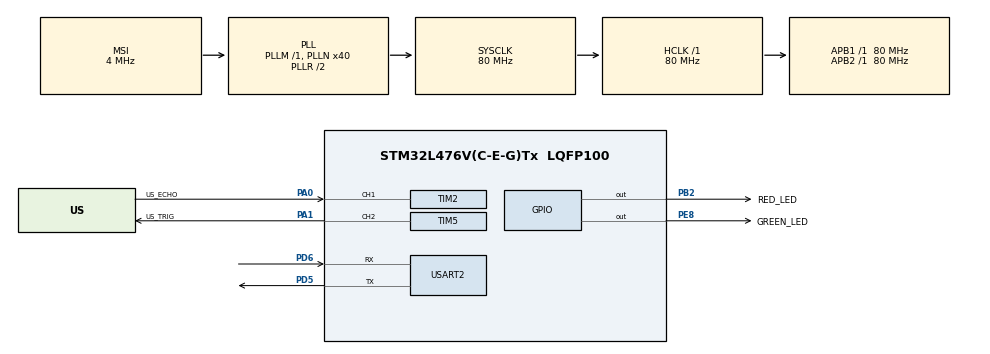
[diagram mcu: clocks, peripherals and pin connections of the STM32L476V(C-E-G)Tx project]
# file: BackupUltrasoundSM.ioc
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Dma.Request0=TIM2_CH1
Dma.Request1=USART2_TX
Dma.TIM2_CH1.0.Direction=DMA_PERIPH_TO_MEMORY
Dma.TIM2_CH1.0.Instance=DMA1_Channel5
Dma.TIM2_CH1.0.MemDataAlignment=DMA_MDATAALIGN_WORD
Dma.TIM2_CH1.0.MemInc=DMA_MINC_ENABLE
Dma.TIM2_CH1.0.Mode=DMA_CIRCULAR
Dma.TIM2_CH1.0.PeriphDataAlignment=DMA_PDATAALIGN_WORD
Dma.TIM2_CH1.0.PeriphInc=DMA_PINC_DISABLE
Dma.TIM2_CH1.0.Priority=DMA_PRIORITY_LOW
Dma.USART2_TX.1.Direction=DMA_MEMORY_TO_PERIPH
Dma.USART2_TX.1.Instance=DMA1_Channel7
Dma.USART2_TX.1.MemDataAlignment=DMA_MDATAALIGN_BYTE
Dma.USART2_TX.1.MemInc=DMA_MINC_ENABLE
Dma.USART2_TX.1.Mode=DMA_NORMAL
Dma.USART2_TX.1.PeriphDataAlignment=DMA_PDATAALIGN_BYTE
Dma.USART2_TX.1.PeriphInc=DMA_PINC_DISABLE
Dma.USART2_TX.1.Priority=DMA_PRIORITY_LOW
Mcu.Family=STM32L4
Mcu.Name=STM32L476V(C-E-G)Tx
Mcu.Package=LQFP100
NVIC.DMA1_Channel5_IRQn=true\:0\:0\:false\:false\:true\:false\:true
NVIC.DMA1_Channel7_IRQn=true\:0\:0\:false\:false\:true\:false\:true
NVIC.PriorityGroup=NVIC_PRIORITYGROUP_4
NVIC.TIM2_IRQn=true\:0\:0\:false\:false\:true\:true\:true
PA0.GPIO_Label=US_ECHO
PA0.Signal=S_TIM2_CH1
PA1.GPIO_Label=US_TRIG
PA1.Signal=S_TIM5_CH2
PB2.GPIO_Label=RED_LED
PB2.Signal=GPIO_Output
PD5.Mode=Asynchronous
PD5.Signal=USART2_TX
PD6.Mode=Asynchronous
PD6.Signal=USART2_RX
PE8.GPIO_Label=GREEN_LED
PE8.Signal=GPIO_Output
ProjectManager.HeapSize=0x200
ProjectManager.StackSize=0x400
ProjectManager.TargetToolchain=STM32CubeIDE
RCC.AHBFreq_Value=80000000
RCC.APB1Freq_Value=80000000
RCC.APB1TimFreq_Value=80000000
RCC.APB2Freq_Value=80000000
RCC.APB2TimFreq_Value=80000000
RCC.CortexFreq_Value=80000000
RCC.HCLKFreq_Value=80000000
RCC.HSE_VALUE=8000000
RCC.HSI_VALUE=16000000
RCC.LSE_VALUE=32768
RCC.MSI_VALUE=4000000
RCC.PLLN=40
RCC.PREFETCH_ENABLE=1
RCC.SYSCLKFreq_VALUE=80000000
RCC.SYSCLKSource=RCC_SYSCLKSOURCE_PLLCLK
RCC.VCOOutputFreq_Value=160000000
SH.S_TIM2_CH1.0=TIM2_CH1,Input_Capture1_from_TI1
SH.S_TIM5_CH2.0=TIM5_CH2,PWM Generation2 CH2
TIM2.Channel-Input_Capture1_from_TI1=TIM_CHANNEL_1
TIM2.Channel-Output\ Compare2\ No\ Output=TIM_CHANNEL_2
TIM2.ICPolarity_CH1=TIM_INPUTCHANNELPOLARITY_BOTHEDGE
TIM2.Period=125000
TIM2.Prescaler=79
TIM5.Channel-PWM\ Generation2\ CH2=TIM_CHANNEL_2
TIM5.Period=100000
TIM5.Prescaler=79
TIM5.Pulse-PWM\ Generation2\ CH2=20
USART2.VirtualMode-Asynchronous=VM_ASYNC
VP_TIM2_VS_ClockSourceINT.Mode=Internal
VP_TIM2_VS_no_output2.Mode=Output Compare2 No Output
VP_TIM5_VS_ClockSourceINT.Mode=Internal
board=STM32L476G-DISCO

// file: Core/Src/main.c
/* USER CODE BEGIN Header */
/**
  ******************************************************************************
  * @file           : main.c
  * @brief          : Main program body
  ******************************************************************************
  * @attention
  *
  * <h2><center>&copy; Copyright (c) 2020 STMicroelectronics.
  * All rights reserved.</center></h2>
  *
  * This software component is licensed by ST under BSD 3-Clause license,
  * the "License"; You may not use this file except in compliance with the
  * License. You may obtain a copy of the License at:
  *                        opensource.org/licenses/BSD-3-Clause
  *
  ******************************************************************************
  */
/* USER CODE END Header */
#include "main.h"
#include "dma.h"
#include "tim.h"
#include "usart.h"
#include "gpio.h"

/* USER CODE BEGIN Includes */
#include <stdio.h>
#include <ultrasound_backup_state_machine.h>
#include "ultrasound.h"
#include "state_machine.h"
/* USER CODE END Includes */

void SystemClock_Config(void);

int main(void)
{

  /* MCU Configuration--------------------------------------------------------*/

  /* Reset of all peripherals, Initializes the Flash interface and the Systick. */
  HAL_Init();

  /* Configure the system clock */
  SystemClock_Config();

  /* Initialize all configured peripherals */
  MX_GPIO_Init();
  MX_DMA_Init();
  MX_TIM2_Init();
  MX_TIM5_Init();
  MX_USART2_UART_Init();
  /* USER CODE BEGIN 2 */
   enable_ultrasound();
  state_t current_state = initialize_state_machine(my_state_machine_config);
  /* USER CODE END 2 */

  /* Infinite loop */
  /* USER CODE BEGIN WHILE */
  uint32_t size = 0;
  char dist_str[] = "Distance: %d\n\r";
  char state_str[] = "State: %d\n\r";
  char buffer[32] = { 0 };
  state_machine_params_t params =
  {
	.distance = 400
  };
  while (1)
  {
	  params.distance = get_read_cm();
	  current_state = update_state_machine(params);
	  size = snprintf(buffer, 32, dist_str, params.distance);
	  HAL_UART_Transmit(&huart2, (uint8_t *)buffer, size, 0xFFFF);
	  size = snprintf(buffer, 32, state_str, current_state);
	  HAL_UART_Transmit(&huart2, (uint8_t *)buffer, size, 0xFFFF);
    /* USER CODE END WHILE */

    /* USER CODE BEGIN 3 */
	  HAL_Delay(100);
  }
  /* USER CODE END 3 */
}

void SystemClock_Config(void)
{
  RCC_OscInitTypeDef RCC_OscInitStruct = {0};
  RCC_ClkInitTypeDef RCC_ClkInitStruct = {0};
  RCC_PeriphCLKInitTypeDef PeriphClkInit = {0};

  /** Initializes the RCC Oscillators according to the specified parameters
  * in the RCC_OscInitTypeDef structure.
  */
  RCC_OscInitStruct.OscillatorType = RCC_OSCILLATORTYPE_MSI;
  RCC_OscInitStruct.MSIState = RCC_MSI_ON;
  RCC_OscInitStruct.MSICalibrationValue = 0;
  RCC_OscInitStruct.MSIClockRange = RCC_MSIRANGE_6;
  RCC_OscInitStruct.PLL.PLLState = RCC_PLL_ON;
  RCC_OscInitStruct.PLL.PLLSource = RCC_PLLSOURCE_MSI;
  RCC_OscInitStruct.PLL.PLLM = 1;
  RCC_OscInitStruct.PLL.PLLN = 40;
  RCC_OscInitStruct.PLL.PLLP = RCC_PLLP_DIV7;
  RCC_OscInitStruct.PLL.PLLQ = RCC_PLLQ_DIV2;
  RCC_OscInitStruct.PLL.PLLR = RCC_PLLR_DIV2;
  if (HAL_RCC_OscConfig(&RCC_OscInitStruct) != HAL_OK)
  {
    Error_Handler();
  }
  /** Initializes the CPU, AHB and APB buses clocks
  */
  RCC_ClkInitStruct.ClockType = RCC_CLOCKTYPE_HCLK|RCC_CLOCKTYPE_SYSCLK
                              |RCC_CLOCKTYPE_PCLK1|RCC_CLOCKTYPE_PCLK2;
  RCC_ClkInitStruct.SYSCLKSource = RCC_SYSCLKSOURCE_PLLCLK;
  RCC_ClkInitStruct.AHBCLKDivider = RCC_SYSCLK_DIV1;
  RCC_ClkInitStruct.APB1CLKDivider = RCC_HCLK_DIV1;
  RCC_ClkInitStruct.APB2CLKDivider = RCC_HCLK_DIV1;

  if (HAL_RCC_ClockConfig(&RCC_ClkInitStruct, FLASH_LATENCY_4) != HAL_OK)
  {
    Error_Handler();
  }
  PeriphClkInit.PeriphClockSelection = RCC_PERIPHCLK_USART2;
  PeriphClkInit.Usart2ClockSelection = RCC_USART2CLKSOURCE_PCLK1;
  if (HAL_RCCEx_PeriphCLKConfig(&PeriphClkInit) != HAL_OK)
  {
    Error_Handler();
  }
  /** Configure the main internal regulator output voltage
  */
  if (HAL_PWREx_ControlVoltageScaling(PWR_REGULATOR_VOLTAGE_SCALE1) != HAL_OK)
  {
    Error_Handler();
  }
}

void Error_Handler(void)
{
}

/************************ (C) COPYRIGHT STMicroelectronics *****END OF FILE****/
